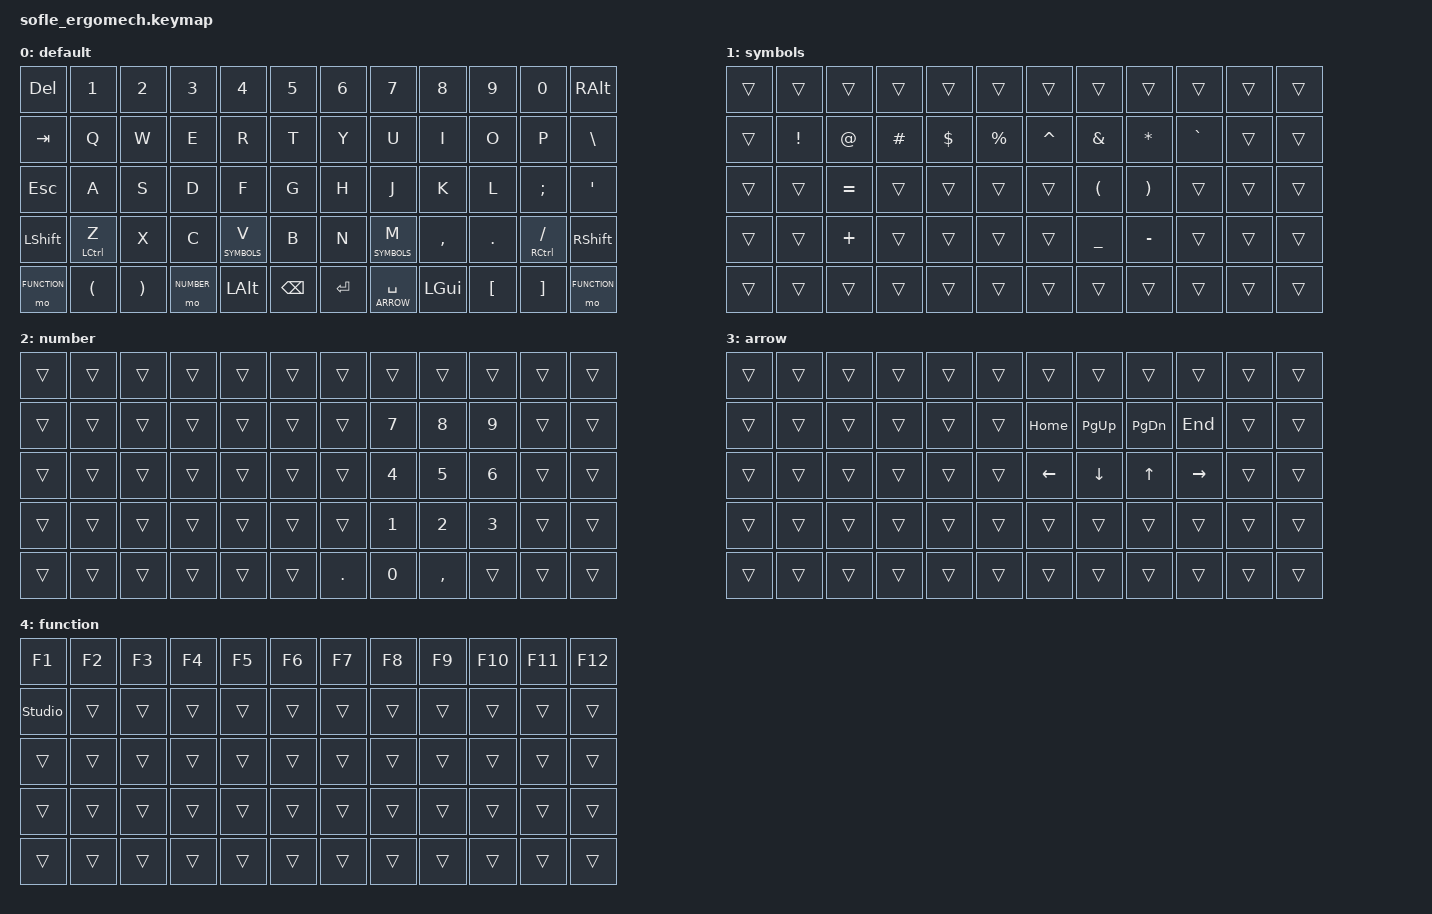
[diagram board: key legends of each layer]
/*
 * Copyright (c) 2020 The ZMK Contributors
 *
 * SPDX-License-Identifier: MIT
 */

#include <behaviors.dtsi>
#include <dt-bindings/zmk/keys.h>
#include <dt-bindings/zmk/bt.h>
#include <dt-bindings/zmk/rgb.h>
#include <dt-bindings/zmk/ext_power.h>

#define BASE 0
#define SYMBOLS 1
#define NUMBER 2
#define ARROW 3
#define FUNCTION 4

/ {

    keymap {
        compatible = "zmk,keymap";

        default_layer {
            label = "default";
// ------------------------------------------------------------------------------------------------------------
// |  DEL  |  1  |  2  |  3   |  4   |  5   |                   |  6   |  7    |  8    |  9   |   0   | ALTGR |
// |  ESC  |  Q  |  W  |  E   |  R   |  T   |                   |  Y   |  U    |  I    |  O   |   P   | BSLH  |
// |  TAB  |  A  |  S  |  D   |  F   |  G   |                   |  H   |  J    |  K    |  L   |   ;   |   '   |
// | SHIFT |  Z  |  X  |  C   |  V   |  B   |  MUTE  |  |       |  N   |  M    |  ,    |  .   |   /   | SHIFT |
// Final row: Function | ( | ) | Number | Left Alt | Backspace | Enter | Space / hold Arrow | Win | [ | ] | Function
            bindings = <
&kp DEL   &kp N1 &kp N2   &kp N3   &kp N4    &kp N5                           &kp N6 &kp N7    &kp N8    &kp N9   &kp N0   &kp RALT
&kp TAB  &kp Q  &kp W    &kp E    &kp R     &kp T                            &kp Y  &kp U     &kp I     &kp O    &kp P    &kp BSLH
&kp ESC   &kp A  &kp S    &kp D    &kp F     &kp G                            &kp H  &kp J     &kp K     &kp L    &kp SEMI &kp SQT
// V and M: tap for the letter, hold for Symbols.
&kp LSHFT &mt LCTRL Z &kp X &kp C &lt SYMBOLS V &kp B                       &kp N &lt SYMBOLS M &kp COMMA &kp DOT &mt RCTRL FSLH &kp RSHFT
&mo FUNCTION &kp LPAR &kp RPAR &mo NUMBER &kp LALT &kp BSPC    &kp RET &lt ARROW SPACE &kp LGUI &kp LBKT &kp RBKT &mo FUNCTION
            >;

        };

        symbols_layer {
            label = "symbols";
            bindings = <
&trans &trans &trans &trans &trans &trans    &trans &trans &trans &trans &trans &trans
&trans &kp EXCL &kp AT &kp HASH &kp DLLR &kp PRCNT    &kp CARET &kp AMPS &kp ASTRK &kp GRAVE &trans &trans
&trans &trans &kp EQUAL &trans &trans &trans    &trans &kp LPAR &kp RPAR &trans &trans &trans
&trans &trans &kp PLUS &trans &trans &trans    &trans &kp UNDER &kp MINUS &trans &trans &trans
&trans &trans &trans &trans &trans &trans    &trans &trans &trans &trans &trans &trans
            >;
        };

        number_layer {
            label = "number";
            bindings = <
&trans &trans &trans &trans &trans &trans    &trans &trans &trans &trans &trans &trans
&trans &trans &trans &trans &trans &trans    &trans &kp N7 &kp N8 &kp N9 &trans &trans
&trans &trans &trans &trans &trans &trans    &trans &kp N4 &kp N5 &kp N6 &trans &trans
&trans &trans &trans &trans &trans &trans    &trans &kp N1 &kp N2 &kp N3 &trans &trans
&trans &trans &trans &trans &trans &trans    &kp DOT &kp N0 &kp COMMA &trans &trans &trans
            >;
        };

        arrow_layer {
            label = "arrow";
            bindings = <
&trans &trans &trans &trans &trans &trans    &trans &trans &trans &trans &trans &trans
&trans &trans &trans &trans &trans &trans    &kp HOME &kp PG_UP &kp PG_DN &kp END &trans &trans
&trans &trans &trans &trans &trans &trans    &kp LEFT &kp DOWN &kp UP &kp RIGHT &trans &trans
&trans &trans &trans &trans &trans &trans    &trans &trans &trans &trans &trans &trans
&trans &trans &trans &trans &trans &trans    &trans &trans &trans &trans &trans &trans
            >;
        };

        function_layer {
            label = "function";
            bindings = <
&kp F1 &kp F2 &kp F3 &kp F4 &kp F5 &kp F6    &kp F7 &kp F8 &kp F9 &kp F10 &kp F11 &kp F12
&studio_unlock &trans &trans &trans &trans &trans    &trans &trans &trans &trans &trans &trans
&trans &trans &trans &trans &trans &trans    &trans &trans &trans &trans &trans &trans
&trans &trans &trans &trans &trans &trans    &trans &trans &trans &trans &trans &trans
&trans &trans &trans &trans &trans &trans    &trans &trans &trans &trans &trans &trans
            >;
        };


    };
};
